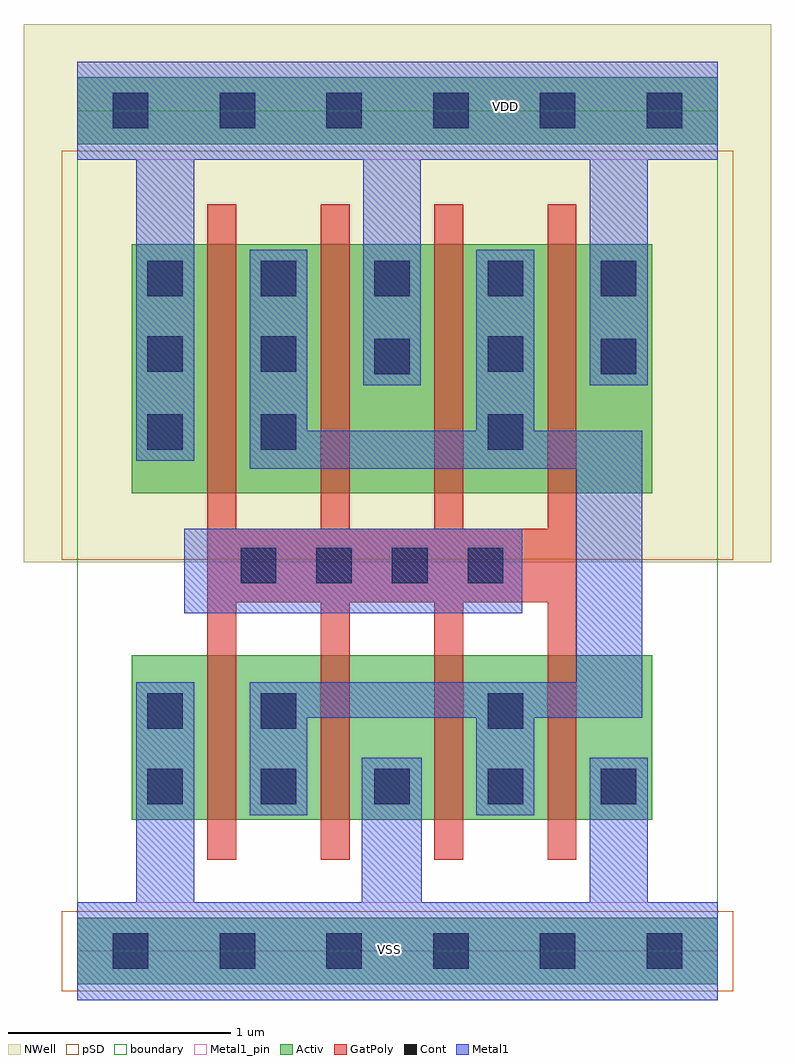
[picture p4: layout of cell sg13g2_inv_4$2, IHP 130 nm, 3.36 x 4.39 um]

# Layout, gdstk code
import gdstk
lib = gdstk.Library(unit=1e-6, precision=5e-09)
def R(c, l, rs):  # rectangles x0, y0, x1, y1
    for r in rs: c.add(gdstk.rectangle(r[:2], r[2:], *l))
def A(c, l, x, y, w, h, nx, ny, dx, dy):  # array of equal rectangles
    R(c, l, [(x+i*dx, y+j*dy, x+i*dx+w, y+j*dy+h) for i in range(nx) for j in range(ny)])
def P(c, l, *ps):  # polygons
    for p in ps: c.add(gdstk.Polygon(p, *l))
Activ = (1, 0)
GatPoly = (5, 0)
Cont = (6, 0)
Metal1 = (8, 0)
Metal1_pin = (8, 2)
pSD = (14, 0)
NWell = (31, 0)
boundary = (189, 4)

sg13g2_inv_4_2 = lib.new_cell('sg13g2_inv_4$2')
R(sg13g2_inv_4_2, Activ, [(-8.365,163.58,-5.485,163.88), (-8.12,164.32,-5.78,165.06), (-8.12,165.79,-5.78,166.91), (-8.365,167.36,-5.485,167.66)])
P(sg13g2_inv_4_2, GatPoly, [(-7.78,164.14),(-7.78,167.09),(-7.65,167.09),(-7.65,165.63),(-7.27,165.63),(-7.27,167.09),(-7.14,167.09),(-7.14,165.63),(-6.76,165.63),(-6.76,167.09),(-6.63,167.09),(-6.63,165.63),(-6.25,165.63),(-6.25,167.09),(-6.12,167.09),(-6.12,164.14),(-6.25,164.14),(-6.25,165.3),(-6.63,165.3),(-6.63,164.14),(-6.76,164.14),(-6.76,165.3),(-7.14,165.3),(-7.14,164.14),(-7.27,164.14),(-7.27,165.3),(-7.65,165.3),(-7.65,164.14)])
A(sg13g2_inv_4_2, Cont, -8.05, 164.39, 0.16, 0.16, 5, 2, 0.51, 2.285)
A(sg13g2_inv_4_2, Cont, -7.63, 165.385, 0.16, 0.16, 4, 1, 0.34, 0)
R(sg13g2_inv_4_2, Cont, [(-8.205,163.65,-8.045,163.81), (-8.205,163.65,-8.045,163.81), (-7.725,163.65,-7.565,163.81), (-7.725,163.65,-7.565,163.81), (-7.245,163.65,-7.085,163.81), (-7.245,163.65,-7.085,163.81), (-6.765,163.65,-6.605,163.81), (-6.765,163.65,-6.605,163.81), (-6.285,163.65,-6.125,163.81), (-6.285,163.65,-6.125,163.81), (-5.805,163.65,-5.645,163.81), (-5.805,163.65,-5.645,163.81), (-8.05,164.73,-7.89,164.89), (-7.54,164.73,-7.38,164.89), (-6.52,164.73,-6.36,164.89), (-8.05,165.985,-7.89,166.145), (-7.54,165.985,-7.38,166.145), (-6.52,165.985,-6.36,166.145), (-7.03,166.325,-6.87,166.485), (-6.01,166.325,-5.85,166.485), (-8.05,166.335,-7.89,166.495), (-7.54,166.335,-7.38,166.495), (-6.52,166.335,-6.36,166.495), (-8.205,167.43,-8.045,167.59), (-8.205,167.43,-8.045,167.59), (-7.725,167.43,-7.565,167.59), (-7.725,167.43,-7.565,167.59), (-7.245,167.43,-7.085,167.59), (-7.245,167.43,-7.085,167.59), (-6.765,167.43,-6.605,167.59), (-6.765,167.43,-6.605,167.59), (-6.285,167.43,-6.125,167.59), (-6.285,167.43,-6.125,167.59), (-5.805,167.43,-5.645,167.59), (-5.805,167.43,-5.645,167.59)])
R(sg13g2_inv_4_2, Metal1, [(-7.885,165.25,-6.365,165.63)])
P(sg13g2_inv_4_2, Metal1, [(-7.59,164.34),(-7.59,164.94),(-6.12,164.94),(-6.12,165.9),(-7.59,165.9),(-7.59,166.885),(-7.33,166.885),(-7.33,166.07),(-6.57,166.07),(-6.57,166.885),(-6.31,166.885),(-6.31,166.07),(-5.825,166.07),(-5.825,164.78),(-6.31,164.78),(-6.31,164.34),(-6.57,164.34),(-6.57,164.78),(-7.33,164.78),(-7.33,164.34)],
  [(-8.1,165.935),(-8.1,167.29),(-8.365,167.29),(-8.365,167.73),(-5.485,167.73),(-5.485,167.29),(-5.8,167.29),(-5.8,166.275),(-6.06,166.275),(-6.06,167.29),(-6.82,167.29),(-6.82,166.275),(-7.08,166.275),(-7.08,167.29),(-7.84,167.29),(-7.84,165.935)],
  [(-8.365,163.51),(-8.365,163.95),(-8.1,163.95),(-8.1,164.94),(-7.84,164.94),(-7.84,163.95),(-7.085,163.95),(-7.085,164.6),(-6.815,164.6),(-6.815,163.95),(-6.06,163.95),(-6.06,164.6),(-5.8,164.6),(-5.8,163.95),(-5.485,163.95),(-5.485,163.51)])
R(sg13g2_inv_4_2, Metal1_pin, [(-8.365,163.51,-5.485,163.95), (-8.365,167.29,-5.485,167.73)])
R(sg13g2_inv_4_2, pSD, [(-8.435,163.55,-5.415,163.91), (-8.435,165.49,-5.415,167.33)])
R(sg13g2_inv_4_2, NWell, [(-8.605,165.48,-5.245,167.9)])
R(sg13g2_inv_4_2, boundary, [(-8.365,163.73,-5.485,167.51)])
sg13g2_inv_4_2.add(gdstk.Label('VDD', (-6.44,167.53), layer=8, texttype=25))
sg13g2_inv_4_2.add(gdstk.Label('VSS', (-6.96,163.735), layer=8, texttype=25))

lib.write_gds('sg13g2_inv_4_2.gds')
